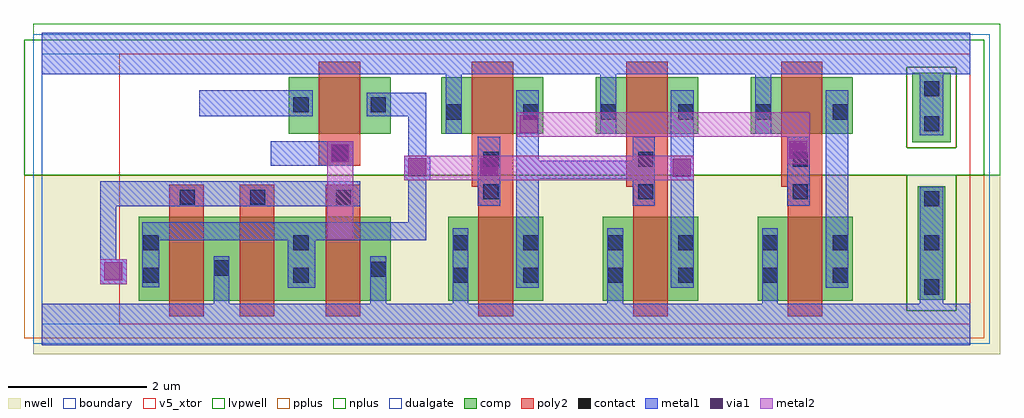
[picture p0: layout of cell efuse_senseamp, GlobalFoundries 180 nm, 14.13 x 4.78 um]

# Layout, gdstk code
import gdstk
lib = gdstk.Library(unit=1e-6, precision=1e-09)
def R(c, l, rs):  # rectangles x0, y0, x1, y1
    for r in rs: c.add(gdstk.rectangle(r[:2], r[2:], *l))
def A(c, l, x, y, w, h, nx, ny, dx, dy):  # array of equal rectangles
    R(c, l, [(x+i*dx, y+j*dy, x+i*dx+w, y+j*dy+h) for i in range(nx) for j in range(ny)])
def P(c, l, *ps):  # polygons
    for p in ps: c.add(gdstk.Polygon(p, *l))
boundary = (0, 0)
nwell = (21, 0)
comp = (22, 0)
poly2 = (30, 0)
pplus = (31, 0)
nplus = (32, 0)
contact = (33, 0)
metal1 = (34, 0)
via1 = (35, 0)
metal2 = (36, 0)
dualgate = (55, 0)
v5_xtor = (112, 1)
lvpwell = (204, 0)

efuse_senseamp = lib.new_cell('efuse_senseamp')
A(efuse_senseamp, boundary, 5.86, 0.43, 2.24, 3.92, 3, 1, 2.24, 0)
R(efuse_senseamp, boundary, [(0.26,0.43,13.7,4.35), (2.5,0.43,5.86,4.35), (12.58,0.43,13.7,4.35)])
A(efuse_senseamp, nwell, 5.43, 0, 3.1, 2.59, 3, 1, 2.24, 0)
R(efuse_senseamp, nwell, [(0.135,0,2.115,2.59), (0.95,0,2.93,2.59), (2.07,0,6.29,2.59), (12.15,0,14.13,2.59)])
A(efuse_senseamp, comp, 6.14, 0.77, 1.38, 1.22, 3, 1, 2.24, 0)
A(efuse_senseamp, comp, 6.04, 3.19, 1.48, 0.82, 3, 1, 2.24, 0)
R(efuse_senseamp, comp, [(1.66,0.77,5.31,1.99), (12.94,0.79,13.34,2.43), (12.86,3.07,13.42,4.07), (3.83,3.19,5.31,4.01)])
R(efuse_senseamp, poly2, [(2.1,0.55,2.6,2.314), (3.12,0.55,3.62,2.314), (4.37,0.55,4.87,2.315), (2.1,2.314,2.6,2.45), (3.12,2.314,3.62,2.45), (4.37,2.315,4.87,2.45), (4.27,2.73,4.87,4.23)])
P(efuse_senseamp, poly2, [(6.58,0.55),(6.58,2.42),(6.48,2.42),(6.48,4.23),(7.08,4.23),(7.08,0.55)],
  [(8.82,0.55),(8.82,2.42),(8.72,2.42),(8.72,4.23),(9.32,4.23),(9.32,0.55)],
  [(11.06,0.55),(11.06,2.42),(10.96,2.42),(10.96,4.23),(11.56,4.23),(11.56,0.55)])
A(efuse_senseamp, pplus, 5.66, 0.23, 2.64, 2.36, 3, 1, 2.24, 0)
R(efuse_senseamp, pplus, [(0,0.23,2.64,2.59), (1.355,0.23,3.995,2.59), (3.845,0.23,6.485,2.59), (12.78,2.99,13.5,4.15)])
P(efuse_senseamp, pplus, [(12.38,0.23),(12.38,2.59),(12.78,2.59),(12.78,0.63),(13.5,0.63),(13.5,2.59),(13.9,2.59),(13.9,0.23)])
A(efuse_senseamp, nplus, 5.66, 2.59, 2.64, 1.96, 3, 1, 2.24, 0)
R(efuse_senseamp, nplus, [(0,2.59,2.64,4.55), (1.355,2.59,3.995,4.55), (3.845,2.59,6.485,4.55)])
P(efuse_senseamp, nplus, [(12.78,0.63),(12.78,2.59),(12.38,2.59),(12.38,4.55),(13.9,4.55),(13.9,2.59),(13.5,2.59),(13.5,0.63),(13.5,4.15),(12.78,4.15),(12.78,2.99),(13.5,2.99),(13.5,0.63)])
A(efuse_senseamp, contact, 13.03, 0.86, 0.22, 0.22, 1, 3, 0, 0.64)
A(efuse_senseamp, contact, 6.65, 2.24, 0.22, 0.22, 3, 2, 2.24, 0.47)
A(efuse_senseamp, contact, 6.11, 3.395, 0.22, 0.22, 6, 1, 1.12, 0)
R(efuse_senseamp, contact, [(1.73,1.03,1.95,1.25), (3.9,1.03,4.12,1.25), (6.21,1.03,6.43,1.25), (7.23,1.03,7.45,1.25), (8.45,1.03,8.67,1.25), (9.47,1.03,9.69,1.25), (10.69,1.03,10.91,1.25), (11.71,1.03,11.93,1.25), (5.02,1.12,5.24,1.34), (2.75,1.135,2.97,1.355), (1.73,1.5,1.95,1.72), (3.9,1.5,4.12,1.72), (6.21,1.5,6.43,1.72), (7.23,1.5,7.45,1.72), (8.45,1.5,8.67,1.72), (9.47,1.5,9.69,1.72), (10.69,1.5,10.91,1.72), (11.71,1.5,11.93,1.72), (2.255,2.16,2.475,2.38), (3.275,2.16,3.495,2.38), (4.515,2.16,4.735,2.38), (4.465,2.8,4.685,3.02), (13.03,3.225,13.25,3.445), (3.9,3.5,4.12,3.72), (5.02,3.5,5.24,3.72), (13.03,3.73,13.25,3.95)])
A(efuse_senseamp, metal1, 7.125, 0.96, 0.33, 2.86, 3, 1, 2.24, 0)
A(efuse_senseamp, metal1, 6.57, 2.15, 0.325, 1, 3, 1, 2.24, 0)
R(efuse_senseamp, metal1, [(3.815,0.96,4.22,1.91), (1.715,0.97,1.955,1.91), (1.105,1.01,1.485,1.37), (1.105,1.37,1.335,1.625), (1.105,1.625,1.335,2.5), (1.715,1.65,4.22,1.91), (4.22,1.65,5.565,1.91), (5.565,1.65,5.825,3.78), (1.105,2.14,2.17,2.5), (2.17,2.14,4.87,2.5), (5.505,2.52,5.885,2.87), (7.455,2.535,8.81,2.8), (3.57,2.73,4.77,3.08), (2.535,3.44,4.18,3.82), (4.96,3.44,5.825,3.78), (0.26,4.05,5.86,4.65)])
P(efuse_senseamp, metal1, [(0.26,0.13),(0.26,0.73),(2.745,0.73),(2.745,1.42),(2.975,1.42),(2.975,0.73),(5.015,0.73),(5.015,1.42),(5.245,1.42),(5.245,0.73),(5.86,0.73),(5.86,0.13)],
  [(12.97,3.165),(12.97,4.05),(12.58,4.05),(12.58,4.65),(13.7,4.65),(13.7,4.05),(13.31,4.05),(13.31,3.165)],
  [(12.58,0.13),(12.58,0.73),(12.97,0.73),(12.97,2.42),(13.31,2.42),(13.31,0.73),(13.7,0.73),(13.7,0.13)],
  [(5.86,0.13),(5.86,0.73),(6.205,0.73),(6.205,1.82),(6.435,1.82),(6.435,0.73),(8.1,0.73),(8.1,0.13)],
  [(6.105,3.19),(6.105,4.05),(5.86,4.05),(5.86,4.65),(8.1,4.65),(8.1,4.05),(6.335,4.05),(6.335,3.19)],
  [(8.1,0.13),(8.1,0.73),(8.445,0.73),(8.445,1.82),(8.675,1.82),(8.675,0.73),(10.34,0.73),(10.34,0.13)],
  [(8.345,3.19),(8.345,4.05),(8.1,4.05),(8.1,4.65),(10.34,4.65),(10.34,4.05),(8.575,4.05),(8.575,3.19)],
  [(10.34,0.13),(10.34,0.73),(10.685,0.73),(10.685,1.82),(10.915,1.82),(10.915,0.73),(12.58,0.73),(12.58,0.13)],
  [(10.585,3.19),(10.585,4.05),(10.34,4.05),(10.34,4.65),(12.58,4.65),(12.58,4.05),(10.815,4.05),(10.815,3.19)])
R(efuse_senseamp, via1, [(1.165,1.07,1.425,1.33), (9.395,2.565,9.655,2.825), (5.565,2.575,5.825,2.835), (6.605,2.575,6.865,2.835), (4.45,2.78,4.71,3.04), (11.08,2.825,11.34,3.085), (7.175,3.195,7.435,3.455)])
R(efuse_senseamp, metal2, [(1.105,1.01,1.485,1.37), (4.39,1.655,4.77,3.08), (5.505,2.52,6.485,2.87), (6.485,2.52,9.695,2.87), (11.05,2.745,11.375,3.5), (7.135,3.15,10.345,3.5), (7.135,3.15,11.375,3.5)])
A(efuse_senseamp, dualgate, 5.58, 0.15, 2.8, 4.48, 3, 1, 2.24, 0)
R(efuse_senseamp, dualgate, [(0.135,0.15,1.815,4.63), (1.1,0.15,2.78,4.63), (2.22,0.15,6.14,4.63), (12.3,0.15,13.98,4.63)])
A(efuse_senseamp, v5_xtor, 5.86, 0.43, 2.24, 3.92, 3, 1, 2.24, 0)
R(efuse_senseamp, v5_xtor, [(1.38,0.43,2.5,4.35), (2.5,0.43,5.86,4.35), (12.58,0.43,13.7,4.35)])
A(efuse_senseamp, lvpwell, 5.43, 2.59, 3.1, 2.19, 3, 1, 2.24, 0)
R(efuse_senseamp, lvpwell, [(0.135,2.59,2.115,4.78), (0.95,2.59,2.93,4.78), (2.07,2.59,6.29,4.78), (12.15,2.59,14.13,4.78)])

lib.write_gds('efuse_senseamp.gds')
